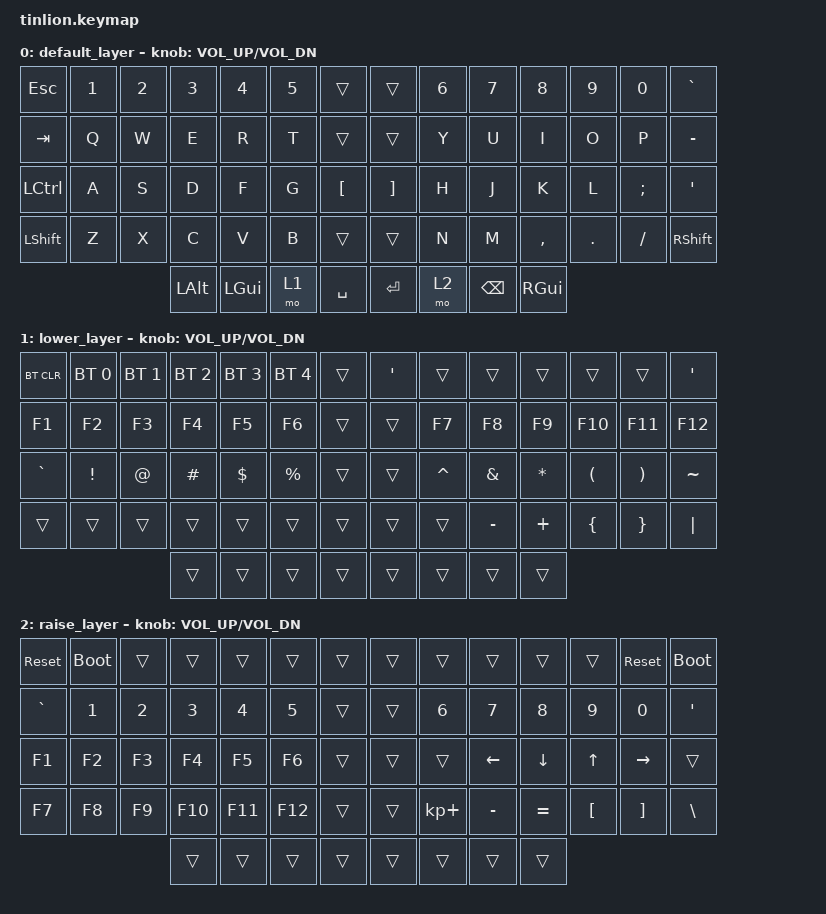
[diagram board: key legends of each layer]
#include <behaviors.dtsi>
#include <dt-bindings/zmk/keys.h>
#include <dt-bindings/zmk/bt.h>

/ {
    keymap {
        compatible = "zmk,keymap";

        default_layer {
            /* ┌─────────┬─────────┬─────────┬─────────┬─────────┬─────────┐                    ┌─────────┬─────────┬─────────┬─────────┬─────────┬─────────┐
               │   ESC   │    1    │    2    │    3    │    4    │    5    │                    │    6    │    7    │    8    │    9    │    0    │    `    │
               ├─────────┼─────────┼─────────┼─────────┼─────────┼─────────┤                    ├─────────┼─────────┼─────────┼─────────┼─────────┼─────────┤
               │   TAB   │    Q    │    W    │    E    │    R    │    T    │                    │    Y    │    U    │    I    │    O    │    P    │    -    │
               ├─────────┼─────────┼─────────┼─────────┼─────────┼─────────┼─────────┐┌─────────┼─────────┼─────────┼─────────┼─────────┼─────────┼─────────┤
               │   CTRL  │    A    │    S    │    D    │    F    │    G    │    [    ││    ]    │    H    │    J    │    K    │    L    │    ;    │    '    │
               ├─────────┼─────────┼─────────┼─────────┼─────────┼─────────┼─────────┘└─────────┼─────────┼─────────┼─────────┼─────────┼─────────┼─────────┤
               │  SHIFT  │    Z    │    X    │    C    │    V    │    B    │                    │    N    │    M    │    ,    │    .    │    /    │  SHIFT  │
               └─────────┴─────────┴─────────┼─────────┼─────────┼─────────┼─────────┐┌─────────┼─────────┼─────────┼─────────┼─────────┴─────────┴─────────┘
                                             │   ALT   │   GIU   │  LOWER  │  SPACE  ││  ENTER  │  RAISE  │  BSPCE  │   GUI   │
                                             └─────────┴─────────┴─────────┴─────────┘└─────────┴─────────┴─────────┴─────────┘ */
            bindings = <
            &kp ESC   &kp N1 &kp N2 &kp N3   &kp N4   &kp N5 &trans       &trans   &kp N6 &kp N7   &kp N8    &kp N9  &kp N0   &kp GRAVE
            &kp TAB   &kp Q  &kp W  &kp E    &kp R    &kp T  &trans       &trans   &kp Y  &kp U    &kp I     &kp O   &kp P    &kp MINUS
            &kp LCTRL &kp A  &kp S  &kp D    &kp F    &kp G  &kp LBKT     &kp RBKT &kp H  &kp J    &kp K     &kp L   &kp SEMI &kp SQT
            &kp LSHFT &kp Z  &kp X  &kp C    &kp V    &kp B  &trans       &trans   &kp N  &kp M    &kp COMMA &kp DOT &kp FSLH &kp RSHFT
                                    &kp LALT &kp LGUI &mo 1  &kp SPACE    &kp RET  &mo 2  &kp BSPC &kp RGUI
            >;

            sensor-bindings = <&inc_dec_kp C_VOL_UP C_VOL_DN>;
        };

        lower_layer {
            /* ┌─────────┬─────────┬─────────┬─────────┬─────────┬─────────┐                    ┌─────────┬─────────┬─────────┬─────────┬─────────┬─────────┐
               │  BT_CLR │  BT_0   │   BT_1  │  BT_2   │  BT_3   │  BT_4   │                    │    '    │         │         │         │         │    '    │
               ├─────────┼─────────┼─────────┼─────────┼─────────┼─────────┤                    ├─────────┼─────────┼─────────┼─────────┼─────────┼─────────┤
               │   F1    │   F2    │   F3    │   F4    │   F5    │   F6    │                    │   F7    │   F8    │   F9    │   F10   │   F11   │   F12   │
               ├─────────┼─────────┼─────────┼─────────┼─────────┼─────────┼─────────┐┌─────────┼─────────┼─────────┼─────────┼─────────┼─────────┼─────────┤
               │    `    │    !    │    @    │    #    │    $    │    %    │         ││         │    ^    │    &    │    *    │    (    │    )    │    ~    │
               ├─────────┼─────────┼─────────┼─────────┼─────────┼─────────┼─────────┘└─────────┼─────────┼─────────┼─────────┼─────────┼─────────┼─────────┤
               │  SHIFT  │    Z    │    X    │    C    │    V    │    B    │                    │    N    │    -    │    +    │    {    │    }    │   "|"   │
               └─────────┴─────────┴─────────┼─────────┼─────────┼─────────┼─────────┐┌─────────┼─────────┼─────────┼─────────┼─────────┴─────────┴─────────┘
                                             │         │         │         │         ││         │         │         │         │
                                             └─────────┴─────────┴─────────┴─────────┘└─────────┴─────────┴─────────┴─────────┘ */
            bindings = <
            &bt BT_CLR &bt BT_SEL 0     &bt BT_SEL 1      &bt BT_SEL 2      &bt BT_SEL 3 &bt BT_SEL 4 &trans  &kp SQT &trans    &trans    &trans    &trans    &trans    &kp SQT
            &kp F1     &kp F2           &kp F3            &kp F4            &kp F5       &kp F6       &trans  &trans  &kp F7    &kp F8    &kp F9    &kp F10   &kp F11   &kp F12
            &kp GRAVE  &kp EXCL         &kp AT            &kp HASH          &kp DOLLAR   &kp PRCNT    &trans  &trans  &kp CARET &kp AMPS  &kp ASTRK &kp LPAR  &kp RPAR  &kp TILDE
            &trans     &trans           &trans            &trans            &trans       &trans       &trans  &trans  &trans    &kp MINUS &kp PLUS  &kp LBRC  &kp RBRC  &kp PIPE
                                                          &trans            &trans       &trans       &trans  &trans  &trans    &trans    &trans
            >;

            sensor-bindings = <&inc_dec_kp C_VOL_UP C_VOL_DN>;
        };

        raise_layer {
            /* ┌─────────┬─────────┬─────────┬─────────┬─────────┬─────────┐                    ┌─────────┬─────────┬─────────┬─────────┬─────────┬─────────┐
               │  RESET  │  BOOTLD │         │         │         │         │                    │         │         │         │         │  RESET  │  BOOTLD │
               ├─────────┼─────────┼─────────┼─────────┼─────────┼─────────┤                    ├─────────┼─────────┼─────────┼─────────┼─────────┼─────────┤
               │    `    │    1    │    2    │    3    │    4    │    5    │                    │    6    │    7    │    8    │    9    │    0    │    '    │
               ├─────────┼─────────┼─────────┼─────────┼─────────┼─────────┼─────────┐┌─────────┼─────────┼─────────┼─────────┼─────────┼─────────┼─────────┤
               │   F1    │   F2    │   F3    │   F4    │   F5    │   F6    │         ││         │         │    <    │    v    │    ^    │    >    │         │
               ├─────────┼─────────┼─────────┼─────────┼─────────┼─────────┼─────────┘└─────────┼─────────┼─────────┼─────────┼─────────┼─────────┼─────────┤
               │   F7    │   F8    │   F9    │   F10   │   F11   │   F12   │                    │    +    │    -    │    =    │    [    │    ]    │    \    │
               └─────────┴─────────┴─────────┼─────────┼─────────┼─────────┼─────────┐┌─────────┼─────────┼─────────┼─────────┼─────────┴─────────┴─────────┘
                                             │         │         │         │         ││         │         │         │         │
                                             └─────────┴─────────┴─────────┴─────────┘└─────────┴─────────┴─────────┴─────────┘ */
            bindings = <
                &sys_reset  &bootloader &trans    &trans    &trans    &trans    &trans      &trans   &trans    &trans    &trans    &trans    &sys_reset  &bootloader
                &kp GRAVE   &kp N1      &kp N2    &kp N3    &kp N4    &kp N5    &trans      &trans   &kp N6    &kp N7    &kp N8    &kp N9    &kp N0    &kp SQT
                &kp F1      &kp F2      &kp F3    &kp F4    &kp F5    &kp F6    &trans      &trans   &trans    &kp LEFT  &kp DOWN  &kp UP    &kp RIGHT &trans
                &kp F7      &kp F8      &kp F9    &kp F10   &kp F11   &kp F12   &trans      &trans   &kp KP_PLUS &kp MINUS &kp EQUAL &kp LBKT &kp RBKT &kp BSLH
                                                  &trans    &trans    &trans    &trans      &trans   &trans    &trans    &trans
            >;

            sensor-bindings = <&inc_dec_kp C_VOL_UP C_VOL_DN>;
        };
    };
};
